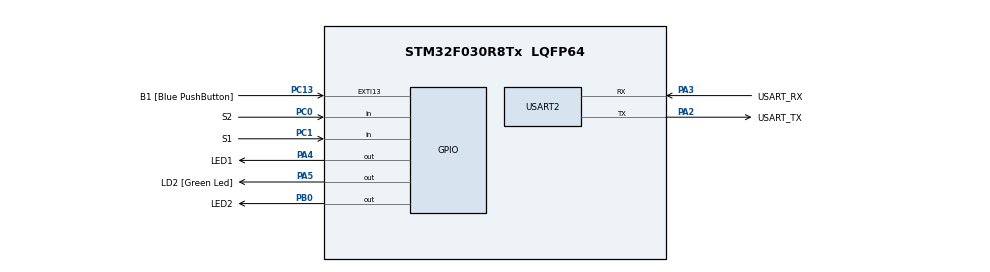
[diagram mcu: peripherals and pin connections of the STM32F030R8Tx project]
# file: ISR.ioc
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Mcu.Family=STM32F0
Mcu.Name=STM32F030R8Tx
Mcu.Package=LQFP64
PA13.GPIO_Label=TMS
PA13.Mode=Serial_Wire
PA13.Signal=SYS_SWDIO
PA14.GPIO_Label=TCK
PA14.Mode=Serial_Wire
PA14.Signal=SYS_SWCLK
PA2.GPIO_Label=USART_TX
PA2.GPIO_Mode=GPIO_MODE_AF_PP
PA2.GPIO_PuPd=GPIO_NOPULL
PA2.GPIO_Speed=GPIO_SPEED_FREQ_LOW
PA2.Mode=Asynchronous
PA2.Signal=USART2_TX
PA3.GPIO_Label=USART_RX
PA3.GPIO_Mode=GPIO_MODE_AF_PP
PA3.GPIO_PuPd=GPIO_NOPULL
PA3.GPIO_Speed=GPIO_SPEED_FREQ_LOW
PA3.Mode=Asynchronous
PA3.Signal=USART2_RX
PA4.GPIO_Label=LED1
PA4.Signal=GPIO_Output
PA5.GPIO_Label=LD2 [Green Led]
PA5.GPIO_Mode=GPIO_MODE_OUTPUT_PP
PA5.GPIO_PuPd=GPIO_NOPULL
PA5.GPIO_Speed=GPIO_SPEED_FREQ_LOW
PA5.Signal=GPIO_Output
PB0.GPIO_Label=LED2
PB0.Signal=GPIO_Output
PC0.GPIO_Label=S2
PC0.GPIO_PuPd=GPIO_PULLUP
PC0.Signal=GPIO_Input
PC1.GPIO_Label=S1
PC1.GPIO_PuPd=GPIO_PULLUP
PC1.Signal=GPIO_Input
PC13.GPIO_Label=B1 [Blue PushButton]
PC13.GPIO_ModeDefaultEXTI=GPIO_MODE_IT_FALLING
PC13.Signal=GPXTI13
PC14-OSC32_IN.Mode=LSE-External-Oscillator
PC14-OSC32_IN.Signal=RCC_OSC32_IN
PC15-OSC32_OUT.Mode=LSE-External-Oscillator
PC15-OSC32_OUT.Signal=RCC_OSC32_OUT
PF0-OSC_IN.Mode=HSE-External-Clock-Source
PF0-OSC_IN.Signal=RCC_OSC_IN
PF1-OSC_OUT.Signal=RCC_OSC_OUT
ProjectManager.HeapSize=0x200
ProjectManager.StackSize=0x400
ProjectManager.TargetToolchain=STM32CubeIDE
RCC.AHBFreq_Value=48000000
RCC.APB1Freq_Value=48000000
RCC.APB1TimFreq_Value=48000000
RCC.HCLKFreq_Value=48000000
RCC.PLLMUL=RCC_PLL_MUL12
RCC.SYSCLKFreq_VALUE=48000000
RCC.SYSCLKSource=RCC_SYSCLKSOURCE_PLLCLK
USART2.VirtualMode-Asynchronous=VM_ASYNC
board=NUCLEO-F030R8

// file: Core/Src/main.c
/* USER CODE BEGIN Header */
/**
 ******************************************************************************
 * @file           : main.c
 * @brief          : Main program body
 ******************************************************************************
 * @attention
 *
 * Copyright (c) 2024 STMicroelectronics.
 * All rights reserved.
 *
 * This software is licensed under terms that can be found in the LICENSE file
 * in the root directory of this software component.
 * If no LICENSE file comes with this software, it is provided AS-IS.
 *
 ******************************************************************************
 */
/* USER CODE END Header */
#include "main.h"

/* USER CODE BEGIN PD */
#define LED_TIME_BLINK 300
#define LED_TIME_SHORT 300
#define LED_TIME_LONG 1000
#define SAMPLE 40
#define SAMPLE5 5
/* USER CODE END PD */

/* USER CODE BEGIN PV */
volatile uint32_t Tick;
/* USER CODE END PV */

void SystemClock_Config(void);
static void MX_GPIO_Init(void);
static void MX_USART2_UART_Init(void);

/* USER CODE BEGIN 0 */
void blink(void) {
	static uint32_t delay;
	if (Tick > delay + LED_TIME_BLINK) {
		LL_GPIO_TogglePin(LED2_GPIO_Port, LED2_Pin);
		delay = Tick;
	}
}

void button() {

	/* stara funkce */
	static uint32_t old_s2;
	uint32_t new_s2;
	static uint32_t off_time;
	static uint32_t old_s1;
	uint32_t new_s1;

	static uint32_t delay;

	if (Tick > delay + SAMPLE) {
		delay = Tick;
		new_s2 = LL_GPIO_IsInputPinSet(S2_GPIO_Port, S2_Pin);

		if (old_s2 && !new_s2) {
			off_time = Tick + LED_TIME_SHORT;
			LL_GPIO_SetOutputPin(LED1_GPIO_Port, LED1_Pin);
		}
		old_s2 = new_s2;

		new_s1 = LL_GPIO_IsInputPinSet(S1_GPIO_Port, S1_Pin);

		if (old_s1 && !new_s1) {
			off_time = Tick + LED_TIME_LONG;
			LL_GPIO_SetOutputPin(LED1_GPIO_Port, LED1_Pin);
		}
		old_s1 = new_s1;
	}

	if (Tick > off_time) {
		LL_GPIO_ResetOutputPin(LED1_GPIO_Port, LED1_Pin);
	}

}

/* USER CODE END 0 */

int main(void) {

	/* MCU Configuration--------------------------------------------------------*/

	/* Reset of all peripherals, Initializes the Flash interface and the Systick. */
	LL_APB1_GRP2_EnableClock(LL_APB1_GRP2_PERIPH_SYSCFG);
	LL_APB1_GRP1_EnableClock(LL_APB1_GRP1_PERIPH_PWR);

	/* Configure the system clock */
	SystemClock_Config();

	/* Initialize all configured peripherals */
	MX_GPIO_Init();
	MX_USART2_UART_Init();
	/* USER CODE BEGIN 2 */
	LL_SYSTICK_EnableIT();
	/* USER CODE END 2 */

	/* Infinite loop */
	/* USER CODE BEGIN WHILE */
	while (1) {
		blink();
		button();
		/* USER CODE END WHILE */

	}
}

void SystemClock_Config(void) {
	LL_FLASH_SetLatency(LL_FLASH_LATENCY_1);
	while (LL_FLASH_GetLatency() != LL_FLASH_LATENCY_1) {
	}
	LL_RCC_HSI_Enable();

	/* Wait till HSI is ready */
	while (LL_RCC_HSI_IsReady() != 1) {

	}
	LL_RCC_HSI_SetCalibTrimming(16);
	LL_RCC_PLL_ConfigDomain_SYS(LL_RCC_PLLSOURCE_HSI_DIV_2, LL_RCC_PLL_MUL_12);
	LL_RCC_PLL_Enable();

	/* Wait till PLL is ready */
	while (LL_RCC_PLL_IsReady() != 1) {

	}
	LL_RCC_SetAHBPrescaler(LL_RCC_SYSCLK_DIV_1);
	LL_RCC_SetAPB1Prescaler(LL_RCC_APB1_DIV_1);
	LL_RCC_SetSysClkSource(LL_RCC_SYS_CLKSOURCE_PLL);

	/* Wait till System clock is ready */
	while (LL_RCC_GetSysClkSource() != LL_RCC_SYS_CLKSOURCE_STATUS_PLL) {

	}
	LL_Init1msTick(48000000);
	LL_SetSystemCoreClock(48000000);
}

static void MX_USART2_UART_Init(void) {

	LL_USART_InitTypeDef USART_InitStruct = { 0 };

	LL_GPIO_InitTypeDef GPIO_InitStruct = { 0 };

	/* Peripheral clock enable */
	LL_APB1_GRP1_EnableClock(LL_APB1_GRP1_PERIPH_USART2);

	LL_AHB1_GRP1_EnableClock(LL_AHB1_GRP1_PERIPH_GPIOA);
	/**USART2 GPIO Configuration
	 PA2   ------> USART2_TX
	 PA3   ------> USART2_RX
	 */
	GPIO_InitStruct.Pin = USART_TX_Pin;
	GPIO_InitStruct.Mode = LL_GPIO_MODE_ALTERNATE;
	GPIO_InitStruct.Speed = LL_GPIO_SPEED_FREQ_LOW;
	GPIO_InitStruct.OutputType = LL_GPIO_OUTPUT_PUSHPULL;
	GPIO_InitStruct.Pull = LL_GPIO_PULL_NO;
	GPIO_InitStruct.Alternate = LL_GPIO_AF_1;
	LL_GPIO_Init(USART_TX_GPIO_Port, &GPIO_InitStruct);

	GPIO_InitStruct.Pin = USART_RX_Pin;
	GPIO_InitStruct.Mode = LL_GPIO_MODE_ALTERNATE;
	GPIO_InitStruct.Speed = LL_GPIO_SPEED_FREQ_LOW;
	GPIO_InitStruct.OutputType = LL_GPIO_OUTPUT_PUSHPULL;
	GPIO_InitStruct.Pull = LL_GPIO_PULL_NO;
	GPIO_InitStruct.Alternate = LL_GPIO_AF_1;
	LL_GPIO_Init(USART_RX_GPIO_Port, &GPIO_InitStruct);

	USART_InitStruct.BaudRate = 38400;
	USART_InitStruct.DataWidth = LL_USART_DATAWIDTH_8B;
	USART_InitStruct.StopBits = LL_USART_STOPBITS_1;
	USART_InitStruct.Parity = LL_USART_PARITY_NONE;
	USART_InitStruct.TransferDirection = LL_USART_DIRECTION_TX_RX;
	USART_InitStruct.HardwareFlowControl = LL_USART_HWCONTROL_NONE;
	USART_InitStruct.OverSampling = LL_USART_OVERSAMPLING_16;
	LL_USART_Init(USART2, &USART_InitStruct);
	LL_USART_DisableIT_CTS(USART2);
	LL_USART_ConfigAsyncMode(USART2);
	LL_USART_Enable(USART2);

}

static void MX_GPIO_Init(void) {
	LL_EXTI_InitTypeDef EXTI_InitStruct = { 0 };
	LL_GPIO_InitTypeDef GPIO_InitStruct = { 0 };

	/* GPIO Ports Clock Enable */
	LL_AHB1_GRP1_EnableClock(LL_AHB1_GRP1_PERIPH_GPIOC);
	LL_AHB1_GRP1_EnableClock(LL_AHB1_GRP1_PERIPH_GPIOF);
	LL_AHB1_GRP1_EnableClock(LL_AHB1_GRP1_PERIPH_GPIOA);
	LL_AHB1_GRP1_EnableClock(LL_AHB1_GRP1_PERIPH_GPIOB);

	/**/
	LL_GPIO_ResetOutputPin(LED1_GPIO_Port, LED1_Pin);

	/**/
	LL_GPIO_ResetOutputPin(LD2_GPIO_Port, LD2_Pin);

	/**/
	LL_GPIO_ResetOutputPin(LED2_GPIO_Port, LED2_Pin);

	/**/
	LL_SYSCFG_SetEXTISource(LL_SYSCFG_EXTI_PORTC, LL_SYSCFG_EXTI_LINE13);

	/**/
	LL_GPIO_SetPinPull(B1_GPIO_Port, B1_Pin, LL_GPIO_PULL_NO);

	/**/
	LL_GPIO_SetPinMode(B1_GPIO_Port, B1_Pin, LL_GPIO_MODE_INPUT);

	/**/
	EXTI_InitStruct.Line_0_31 = LL_EXTI_LINE_13;
	EXTI_InitStruct.LineCommand = ENABLE;
	EXTI_InitStruct.Mode = LL_EXTI_MODE_IT;
	EXTI_InitStruct.Trigger = LL_EXTI_TRIGGER_FALLING;
	LL_EXTI_Init(&EXTI_InitStruct);

	/**/
	GPIO_InitStruct.Pin = S2_Pin;
	GPIO_InitStruct.Mode = LL_GPIO_MODE_INPUT;
	GPIO_InitStruct.Pull = LL_GPIO_PULL_UP;
	LL_GPIO_Init(S2_GPIO_Port, &GPIO_InitStruct);

	/**/
	GPIO_InitStruct.Pin = S1_Pin;
	GPIO_InitStruct.Mode = LL_GPIO_MODE_INPUT;
	GPIO_InitStruct.Pull = LL_GPIO_PULL_UP;
	LL_GPIO_Init(S1_GPIO_Port, &GPIO_InitStruct);

	/**/
	GPIO_InitStruct.Pin = LED1_Pin;
	GPIO_InitStruct.Mode = LL_GPIO_MODE_OUTPUT;
	GPIO_InitStruct.Speed = LL_GPIO_SPEED_FREQ_LOW;
	GPIO_InitStruct.OutputType = LL_GPIO_OUTPUT_PUSHPULL;
	GPIO_InitStruct.Pull = LL_GPIO_PULL_NO;
	LL_GPIO_Init(LED1_GPIO_Port, &GPIO_InitStruct);

	/**/
	GPIO_InitStruct.Pin = LD2_Pin;
	GPIO_InitStruct.Mode = LL_GPIO_MODE_OUTPUT;
	GPIO_InitStruct.Speed = LL_GPIO_SPEED_FREQ_LOW;
	GPIO_InitStruct.OutputType = LL_GPIO_OUTPUT_PUSHPULL;
	GPIO_InitStruct.Pull = LL_GPIO_PULL_NO;
	LL_GPIO_Init(LD2_GPIO_Port, &GPIO_InitStruct);

	/**/
	GPIO_InitStruct.Pin = LED2_Pin;
	GPIO_InitStruct.Mode = LL_GPIO_MODE_OUTPUT;
	GPIO_InitStruct.Speed = LL_GPIO_SPEED_FREQ_LOW;
	GPIO_InitStruct.OutputType = LL_GPIO_OUTPUT_PUSHPULL;
	GPIO_InitStruct.Pull = LL_GPIO_PULL_NO;
	LL_GPIO_Init(LED2_GPIO_Port, &GPIO_InitStruct);

}

void Error_Handler(void) {
	__disable_irq();
	while (1) {
	}
}
